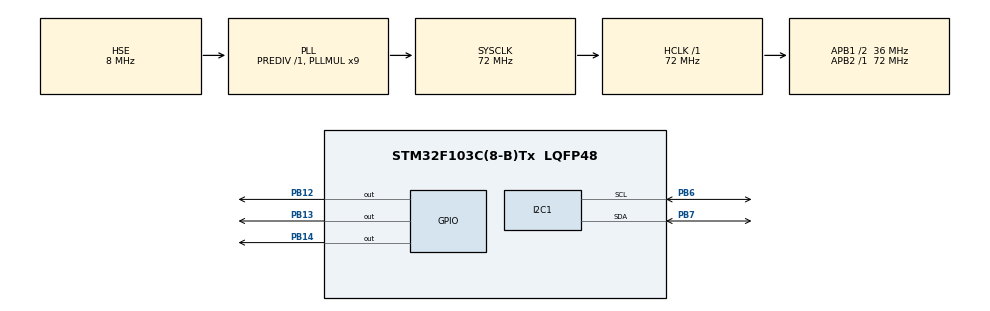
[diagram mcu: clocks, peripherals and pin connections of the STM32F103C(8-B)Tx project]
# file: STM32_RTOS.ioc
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FREERTOS.Tasks01=Task01,0,128,StartTask1,Default,NULL,Dynamic,NULL,NULL;Task02,0,128,StartTask02,Default,NULL,Dynamic,NULL,NULL;Task03,0,128,StartTask03,Default,NULL,Dynamic,NULL,NULL
Mcu.Family=STM32F1
Mcu.Name=STM32F103C(8-B)Tx
Mcu.Package=LQFP48
NVIC.PriorityGroup=NVIC_PRIORITYGROUP_4
NVIC.TIM3_IRQn=true\:15\:0\:false\:false\:true\:false\:false\:true\:true
NVIC.TimeBase=TIM3_IRQn
NVIC.TimeBaseIP=TIM3
PA13.Mode=Serial_Wire
PA13.Signal=SYS_JTMS-SWDIO
PA14.Mode=Serial_Wire
PA14.Signal=SYS_JTCK-SWCLK
PB12.Signal=GPIO_Output
PB13.Signal=GPIO_Output
PB14.Signal=GPIO_Output
PB6.Mode=I2C
PB6.Signal=I2C1_SCL
PB7.Mode=I2C
PB7.Signal=I2C1_SDA
PD0-OSC_IN.Mode=HSE-External-Oscillator
PD0-OSC_IN.Signal=RCC_OSC_IN
PD1-OSC_OUT.Mode=HSE-External-Oscillator
PD1-OSC_OUT.Signal=RCC_OSC_OUT
ProjectManager.HeapSize=0x200
ProjectManager.StackSize=0x400
ProjectManager.TargetToolchain=EWARM V8.32
RCC.AHBFreq_Value=72000000
RCC.APB1CLKDivider=RCC_HCLK_DIV2
RCC.APB1Freq_Value=36000000
RCC.APB1TimFreq_Value=72000000
RCC.APB2Freq_Value=72000000
RCC.APB2TimFreq_Value=72000000
RCC.HCLKFreq_Value=72000000
RCC.PLLMUL=RCC_PLL_MUL9
RCC.PLLSourceVirtual=RCC_PLLSOURCE_HSE
RCC.SYSCLKFreq_VALUE=72000000
RCC.SYSCLKSource=RCC_SYSCLKSOURCE_PLLCLK
RCC.USBFreq_Value=72000000
VP_FREERTOS_VS_CMSIS_V1.Mode=CMSIS_V1
VP_SYS_VS_tim3.Mode=TIM3
board=custom

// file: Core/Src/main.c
/* USER CODE BEGIN Header */
/**
  ******************************************************************************
  * @file           : main.c
  * @brief          : Main program body
  ******************************************************************************
  * @attention
  *
  * Copyright (c) 2023 STMicroelectronics.
  * All rights reserved.
  *
  * This software is licensed under terms that can be found in the LICENSE file
  * in the root directory of this software component.
  * If no LICENSE file comes with this software, it is provided AS-IS.
  *
  ******************************************************************************
  */
/* USER CODE END Header */
#include "main.h"
#include "cmsis_os.h"
#include "CLCD_I2C.h"
#include "stdio.h"
#include "string.h"
#include "stdlib.h"

I2C_HandleTypeDef hi2c1;

osThreadId Task01Handle;
osThreadId Task02Handle;
osThreadId Task03Handle;

void SystemClock_Config(void);
static void MX_GPIO_Init(void);
static void MX_I2C1_Init(void);
void StartTask1(void const * argument);
void StartTask02(void const * argument);
void StartTask03(void const * argument);

/* USER CODE BEGIN PFP */
CLCD_I2C_Name LCD1;

volatile int led;
char Led_Buffer[10];
/* USER CODE END PFP */

int main(void)
{

  /* MCU Configuration--------------------------------------------------------*/

  /* Reset of all peripherals, Initializes the Flash interface and the Systick. */
  HAL_Init();

  /* Configure the system clock */
  SystemClock_Config();

  /* Initialize all configured peripherals */
  MX_GPIO_Init();
  MX_I2C1_Init();

  /* Create the thread(s) */
  /* definition and creation of Task01 */
  osThreadDef(Task01, StartTask1, osPriorityNormal, 0, 128);
  Task01Handle = osThreadCreate(osThread(Task01), NULL);

  /* definition and creation of Task02 */
  osThreadDef(Task02, StartTask02, osPriorityNormal, 0, 128);
  Task02Handle = osThreadCreate(osThread(Task02), NULL);

  /* definition and creation of Task03 */
  osThreadDef(Task03, StartTask03, osPriorityNormal, 0, 128);
  Task03Handle = osThreadCreate(osThread(Task03), NULL);

  /* LCD Display */
  /* Start scheduler */
  osKernelStart();

  /* We should never get here as control is now taken by the scheduler */
  /* Infinite loop */
  while (1)
  {

  }
}

void SystemClock_Config(void)
{
  RCC_OscInitTypeDef RCC_OscInitStruct = {0};
  RCC_ClkInitTypeDef RCC_ClkInitStruct = {0};

  /** Initializes the RCC Oscillators according to the specified parameters
  * in the RCC_OscInitTypeDef structure.
  */
  RCC_OscInitStruct.OscillatorType = RCC_OSCILLATORTYPE_HSE;
  RCC_OscInitStruct.HSEState = RCC_HSE_ON;
  RCC_OscInitStruct.HSEPredivValue = RCC_HSE_PREDIV_DIV1;
  RCC_OscInitStruct.HSIState = RCC_HSI_ON;
  RCC_OscInitStruct.PLL.PLLState = RCC_PLL_ON;
  RCC_OscInitStruct.PLL.PLLSource = RCC_PLLSOURCE_HSE;
  RCC_OscInitStruct.PLL.PLLMUL = RCC_PLL_MUL9;
  if (HAL_RCC_OscConfig(&RCC_OscInitStruct) != HAL_OK)
  {
    Error_Handler();
  }

  /** Initializes the CPU, AHB and APB buses clocks
  */
  RCC_ClkInitStruct.ClockType = RCC_CLOCKTYPE_HCLK|RCC_CLOCKTYPE_SYSCLK
                              |RCC_CLOCKTYPE_PCLK1|RCC_CLOCKTYPE_PCLK2;
  RCC_ClkInitStruct.SYSCLKSource = RCC_SYSCLKSOURCE_PLLCLK;
  RCC_ClkInitStruct.AHBCLKDivider = RCC_SYSCLK_DIV1;
  RCC_ClkInitStruct.APB1CLKDivider = RCC_HCLK_DIV2;
  RCC_ClkInitStruct.APB2CLKDivider = RCC_HCLK_DIV1;

  if (HAL_RCC_ClockConfig(&RCC_ClkInitStruct, FLASH_LATENCY_2) != HAL_OK)
  {
    Error_Handler();
  }
}

static void MX_I2C1_Init(void)
{

  hi2c1.Instance = I2C1;
  hi2c1.Init.ClockSpeed = 100000;
  hi2c1.Init.DutyCycle = I2C_DUTYCYCLE_2;
  hi2c1.Init.OwnAddress1 = 0;
  hi2c1.Init.AddressingMode = I2C_ADDRESSINGMODE_7BIT;
  hi2c1.Init.DualAddressMode = I2C_DUALADDRESS_DISABLE;
  hi2c1.Init.OwnAddress2 = 0;
  hi2c1.Init.GeneralCallMode = I2C_GENERALCALL_DISABLE;
  hi2c1.Init.NoStretchMode = I2C_NOSTRETCH_DISABLE;
  if (HAL_I2C_Init(&hi2c1) != HAL_OK)
  {
    Error_Handler();
  }

}

static void MX_GPIO_Init(void)
{
  GPIO_InitTypeDef GPIO_InitStruct = {0};

  /* GPIO Ports Clock Enable */
  __HAL_RCC_GPIOD_CLK_ENABLE();
  __HAL_RCC_GPIOB_CLK_ENABLE();
  __HAL_RCC_GPIOA_CLK_ENABLE();

  /*Configure GPIO pin Output Level */
  HAL_GPIO_WritePin(GPIOB, GPIO_PIN_12|GPIO_PIN_13|GPIO_PIN_14, GPIO_PIN_RESET);

  /*Configure GPIO pins : PB12 PB13 PB14 */
  GPIO_InitStruct.Pin = GPIO_PIN_12|GPIO_PIN_13|GPIO_PIN_14;
  GPIO_InitStruct.Mode = GPIO_MODE_OUTPUT_PP;
  GPIO_InitStruct.Pull = GPIO_NOPULL;
  GPIO_InitStruct.Speed = GPIO_SPEED_FREQ_LOW;
  HAL_GPIO_Init(GPIOB, &GPIO_InitStruct);

}

void StartTask1(void const * argument)
{
  /* USER CODE BEGIN 5 */
  /* Infinite loop */
  CLCD_I2C_Init(&LCD1,&hi2c1,0x4E,16,2);
  CLCD_I2C_Clear(&LCD1);
  CLCD_I2C_SetCursor(&LCD1,0,0);
  CLCD_I2C_WriteString(&LCD1,"LED : ");
  CLCD_I2C_SetCursor(&LCD1,6,0);
  CLCD_I2C_WriteString(&LCD1,Led_Buffer);
  for(;;)
  {

    HAL_GPIO_TogglePin(GPIOB , GPIO_PIN_12);
    osDelay(500);
  }
  /* USER CODE END 5 */
}

void StartTask02(void const * argument)
{
  /* USER CODE BEGIN StartTask02 */
  led =1;
  sprintf(Led_Buffer,"%d",led);
  /* Infinite loop */
  for(;;)
  {

    HAL_GPIO_TogglePin(GPIOB , GPIO_PIN_13);
    osDelay(1000);
  }
  /* USER CODE END StartTask02 */
}

void StartTask03(void const * argument)
{
  /* USER CODE BEGIN StartTask03 */
  led =2;
  sprintf(Led_Buffer,"%d",led);
  /* Infinite loop */
  for(;;)
  {

    HAL_GPIO_TogglePin(GPIOB , GPIO_PIN_14);
    osDelay(1500);
  }
  /* USER CODE END StartTask03 */
}

void HAL_TIM_PeriodElapsedCallback(TIM_HandleTypeDef *htim)
{
  if (htim->Instance == TIM3) {
    HAL_IncTick();
  }
}

void Error_Handler(void)
{
  __disable_irq();
  while (1)
  {
  }
}
